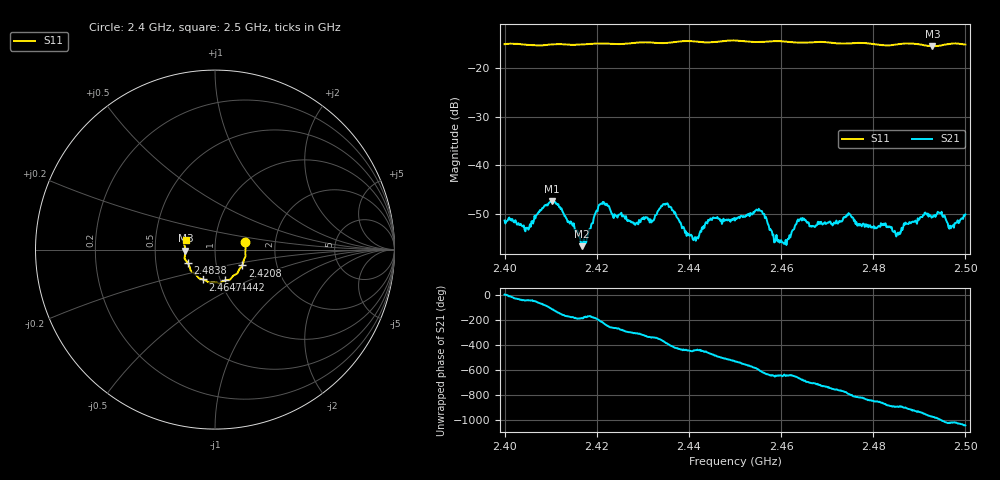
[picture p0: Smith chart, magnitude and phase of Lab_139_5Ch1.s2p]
# Hz S RI R 50
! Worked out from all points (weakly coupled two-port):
!   601 points, 2.4 GHz to 2.5 GHz, reference 50 ohm
!   highest |S21| = -47.32 dB at 2.4103 GHz (marker M1); lowest = -56.5 dB at 2.4168 GHz (marker M2)
!   lowest |S11| = -15.6 dB at 2.4928 GHz (marker M3), VSWR 1.40, Z = 35.8 - j0.417 ohm
!   |S11| at or under -10 dB: start of sweep to end of sweep
!   S12 and S22 are empty: the file has one direction only
!   S11 on the Smith chart (normalised r, x): 2.4 GHz: 1.40, +0.12; 2.4208 GHz: 1.33, -0.24; 2.4442 GHz: 1.05, -0.37; 2.4647 GHz: 0.83, -0.29; 2.4838 GHz: 0.73, -0.11; 2.5 GHz: 0.71, +0.07
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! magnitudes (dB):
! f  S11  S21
! 2.4 GHz  -15.2  -51.3
! 2.4048 GHz  -15.3  -52.8
! 2.4103 GHz  -15.2  -47.3
! 2.4167 GHz  -15.3  -55.7
! 2.4168 GHz  -15.3  -56.5
! 2.4208 GHz  -15.1  -47.8
! 2.4285 GHz  -14.9  -51.9
! 2.4333 GHz  -15.0  -49.2
! 2.4357 GHz  -14.9  -48.5
! 2.4413 GHz  -14.7  -54.6
! 2.4442 GHz  -14.9  -51.1
! 2.45 GHz  -14.5  -51.3
! 2.4553 GHz  -14.8  -49.2
! 2.4607 GHz  -14.7  -56.0
! 2.4647 GHz  -14.9  -50.7
! 2.4667 GHz  -14.8  -52.5
! 2.4747 GHz  -15.1  -49.7
! 2.4833 GHz  -15.5  -52.6
! 2.4838 GHz  -15.4  -52.7
! 2.4928 GHz  -15.6  -50.4
! 2.497 GHz  -15.1  -52.4
! 2.5 GHz  -15.3  -50.0
